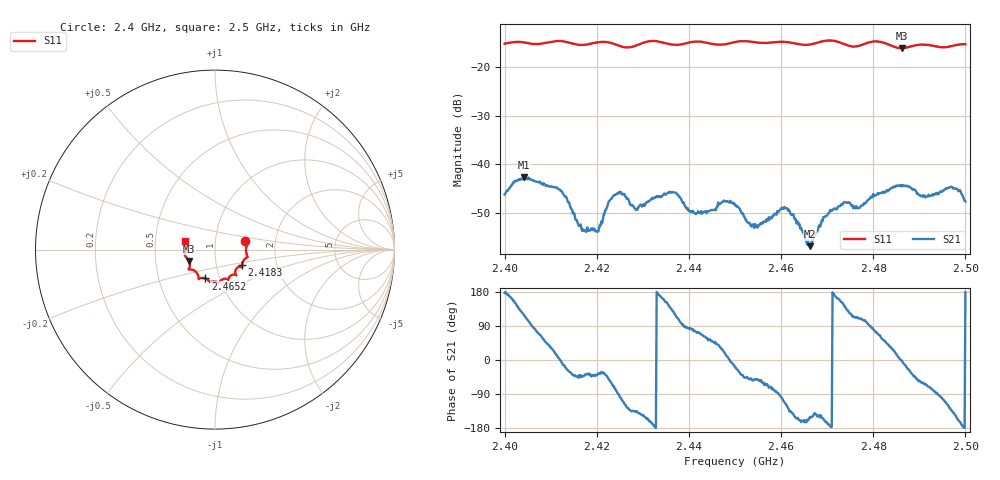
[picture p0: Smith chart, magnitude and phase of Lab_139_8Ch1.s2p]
# Hz S RI R 50
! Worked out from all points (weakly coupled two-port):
!   601 points, 2.4 GHz to 2.5 GHz, reference 50 ohm
!   highest |S21| = -42.75 dB at 2.4042 GHz (marker M1); lowest = -56.9 dB at 2.4663 GHz (marker M2)
!   lowest |S11| = -16.1 dB at 2.4862 GHz (marker M3), VSWR 1.37, Z = 37.2 - j4.86 ohm
!   |S11| at or under -10 dB: start of sweep to end of sweep
!   S12 and S22 are empty: the file has one direction only
!   S11 on the Smith chart (normalised r, x): 2.4 GHz: 1.40, +0.13; 2.4183 GHz: 1.33, -0.24; 2.4652 GHz: 0.85, -0.28; 2.5 GHz: 0.71, +0.07
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2.4e9  0.1682 0.0466  -0.00485 0.000231  0 0  0 0
2.404167e9  0.1782 0.0258  -0.00361 0.00632  0 0  0 0
2.411833e9  0.1816 -0.0406  0.00548 0.000396  0 0  0 0
2.416667e9  0.1551 -0.0678  0.00154 -0.00155  0 0  0 0
2.418333e9  0.15 -0.0867  0.00162 -0.00132  0 0  0 0
2.420333e9  0.1508 -0.0995  0.00164 -0.00118  0 0  0 0
2.424667e9  0.1374 -0.0951  6.52e-05 -0.00496  0 0  0 0
2.4285e9  0.1127 -0.123  -0.00248 -0.00228  0 0  0 0
2.433333e9  0.1175 -0.1416  -0.00453 0.000579  0 0  0 0
2.436833e9  0.0923 -0.1426  -0.00279 0.00426  0 0  0 0
2.441333e9  0.0744 -0.1677  0.000748 0.00298  0 0  0 0
2.45e9  0.0257 -0.1797  0.00355 -0.00125  0 0  0 0
2.4545e9  0.0113 -0.1801  0.00142 -0.00175  0 0  0 0
2.461167e9  -0.0299 -0.1791  -0.00169 -0.00309  0 0  0 0
2.465167e9  -0.0542 -0.1608  -0.00171 -0.000658  0 0  0 0
2.466333e9  -0.0672 -0.1577  -0.00123 -0.000716  0 0  0 0
2.466667e9  -0.0708 -0.1575  -0.00138 -0.000782  0 0  0 0
2.471167e9  -0.0911 -0.1641  -0.00337 7.78e-05  0 0  0 0
2.483333e9  -0.1411 -0.0967  0.00416 0.00346  0 0  0 0
2.486167e9  -0.1431 -0.0637  0.00609 -0.000159  0 0  0 0
2.497167e9  -0.1631 0.0284  -0.00416 -0.00406  0 0  0 0
2.5e9  -0.166 0.0473  -0.00413 7.01e-05  0 0  0 0
